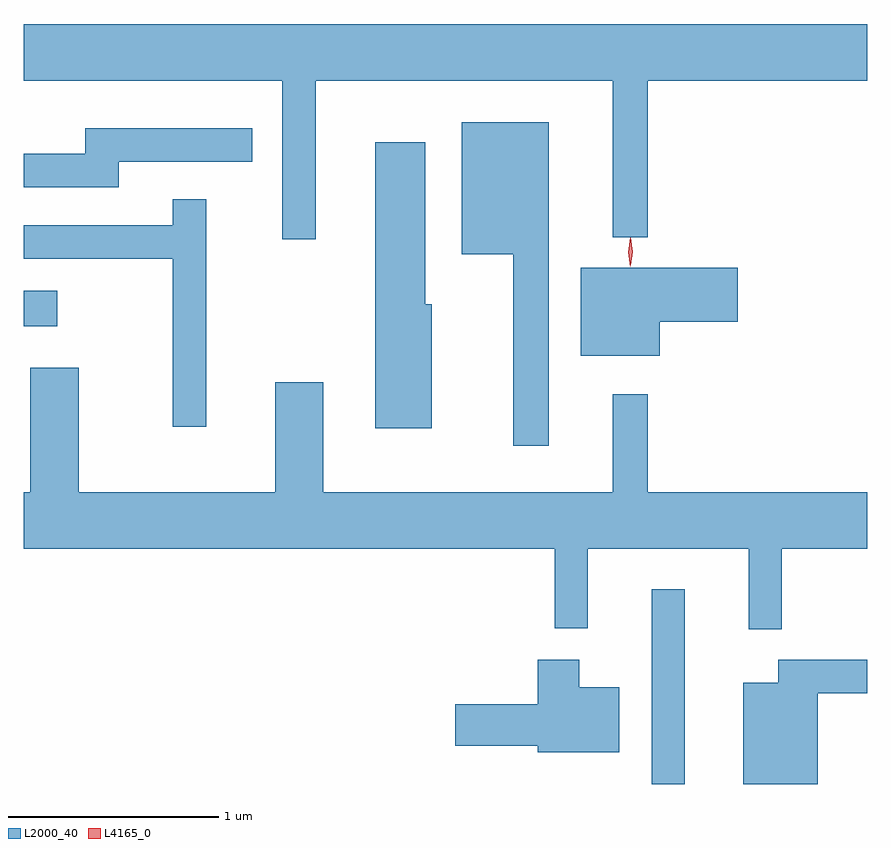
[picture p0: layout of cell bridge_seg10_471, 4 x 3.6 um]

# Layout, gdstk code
import gdstk
lib = gdstk.Library(unit=1e-6, precision=1e-09)
def R(c, l, rs):  # rectangles x0, y0, x1, y1
    for r in rs: c.add(gdstk.rectangle(r[:2], r[2:], *l))
def P(c, l, *ps):  # polygons
    for p in ps: c.add(gdstk.Polygon(p, *l))
L2000_40 = (2000, 40)
L4165_0 = (4165, 0)

bridge_seg10_471 = lib.new_cell('bridge_seg10_471')
R(bridge_seg10_471, L2000_40, [(921.786,2168.3,921.944,2169.223), (918.809,2170.471,918.968,2170.639)])
P(bridge_seg10_471, L2000_40, [(920.194,2171.636),(921.601,2171.636),(921.601,2170.893),(921.769,2170.893),(921.769,2171.636),(922.809,2171.636),(922.809,2171.904),(918.809,2171.904),(918.809,2171.636),(920.036,2171.636),(920.036,2170.883),(920.194,2170.883)],
  [(921.299,2171.439),(920.886,2171.439),(920.886,2170.811),(921.131,2170.811),(921.131,2169.903),(921.299,2169.903)],
  [(919.259,2171.251),(919.893,2171.251),(919.893,2171.409),(919.101,2171.409),(919.101,2171.289),(918.809,2171.289),(918.809,2171.131),(919.259,2171.131)],
  [(920.744,2170.574),(920.714,2170.574),(920.714,2171.344),(920.476,2171.344),(920.476,2169.986),(920.744,2169.986)],
  [(919.674,2171.073),(919.516,2171.073),(919.516,2170.949),(918.809,2170.949),(918.809,2170.791),(919.516,2170.791),(919.516,2169.993),(919.674,2169.993)],
  [(921.824,2170.491),(922.194,2170.491),(922.194,2170.749),(921.451,2170.749),(921.451,2170.331),(921.824,2170.331)],
  [(922.404,2169.416),(922.809,2169.416),(922.809,2169.684),(921.769,2169.684),(921.769,2170.148),(921.601,2170.148),(921.601,2169.684),(920.229,2169.684),(920.229,2170.204),(920.001,2170.204),(920.001,2169.684),(919.069,2169.684),(919.069,2170.274),(918.841,2170.274),(918.841,2169.684),(918.809,2169.684),(918.809,2169.416),(921.326,2169.416),(921.326,2169.038),(921.484,2169.038),(921.484,2169.416),(922.246,2169.416),(922.246,2169.033),(922.404,2169.033)],
  [(921.634,2168.759),(921.444,2168.759),(921.444,2168.889),(921.246,2168.889),(921.246,2168.679),(920.856,2168.679),(920.856,2168.481),(921.246,2168.481),(921.246,2168.451),(921.634,2168.451)],
  [(922.574,2168.731),(922.809,2168.731),(922.809,2168.889),(922.386,2168.889),(922.386,2168.779),(922.221,2168.779),(922.221,2168.3),(922.574,2168.3)])
P(bridge_seg10_471, L4165_0, [(921.685,2170.754),(921.685,2170.754),(921.676,2170.822),(921.686,2170.89),(921.687,2170.89),(921.687,2170.89),(921.696,2170.822),(921.686,2170.754)],
  [(921.687,2170.76),(921.687,2170.76),(921.677,2170.823),(921.686,2170.886),(921.687,2170.887),(921.687,2170.886),(921.697,2170.823),(921.688,2170.76)])

lib.write_gds('bridge_seg10_471.gds')
